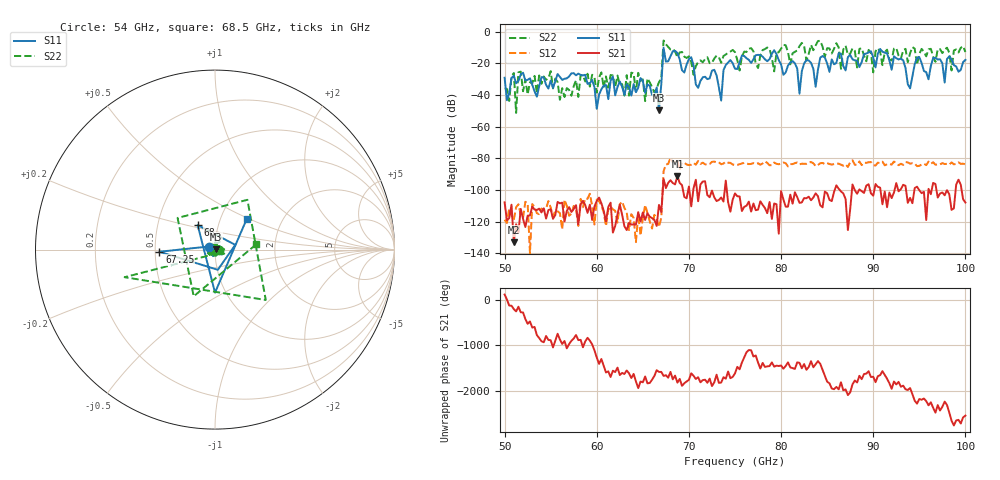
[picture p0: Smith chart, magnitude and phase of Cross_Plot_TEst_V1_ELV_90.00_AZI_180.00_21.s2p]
! 11/25/2026 1:25:37 PM
! C:\ANRITSUVNA\TEMP\TEMP.S2P
! CHANNEL.1
! TR.MEASUREMENT
! RAW.DATA
# HZ S RI R 50.0
! FREQ.HZ  S11RE  S11IM  S21RE  S21IM  S12RE  S12IM  S22RE  S22IM
!; PortSelection: Port_12
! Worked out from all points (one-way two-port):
!   201 points, 50 GHz to 100 GHz, reference 50 ohm
!   highest |S21| = -91.34 dB at 68.75 GHz (marker M1); lowest = -133.0 dB at 51 GHz (marker M2)
!   lowest |S11| = -49.7 dB at 66.75 GHz (marker M3), VSWR 1.01, Z = 50.3 + j0.0724 ohm
!   |S11| at or under -10 dB: start of sweep to end of sweep
!   |S22| runs from -51.4 to -5.6 dB; largest |S21 - S12| = 0.00012
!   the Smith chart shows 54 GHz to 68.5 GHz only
!   S11 on the Smith chart (normalised r, x): 54 GHz: 0.93, +0.03; 67.25 GHz: 0.53, -0.01; 68 GHz: 0.80, +0.22; 68.5 GHz: 1.33, +0.49
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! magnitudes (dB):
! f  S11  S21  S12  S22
! 50 GHz  -29.1  -107.9  -118.9  -35.7
! 51 GHz  -27.9  -133.0  -118.9  -26.1
! 51.25 GHz  -32.6  -121.7  -111.0  -51.4
! 51.5 GHz  -31.2  -127.0  -109.1  -25.7
! 54 GHz  -28.7  -114.2  -111.8  -33.0
! 58.5 GHz  -27.7  -106.9  -111.0  -27.7
! 60 GHz  -48.8  -107.0  -106.1  -38.6
! 61.75 GHz  -28.4  -127.0  -112.3  -27.7
! 66.75 GHz  -49.7  -109.5  -123.5  -31.9
! 67.25 GHz  -10.2  -93.1  -88.2  -5.6
! 68 GHz  -15.5  -93.9  -79.6  -11.3
! 68.5 GHz  -12.1  -96.5  -82.7  -12.6
! 68.75 GHz  -13.5  -91.3  -80.9  -16.1
! 73.5 GHz  -43.5  -104.8  -83.8  -19.7
! 73.75 GHz  -24.3  -107.4  -83.4  -15.4
! 75 GHz  -23.5  -102.2  -84.3  -13.0
! 82 GHz  -39.2  -108.2  -83.9  -9.1
! 83.5 GHz  -23.5  -104.8  -83.3  -11.8
! 91.75 GHz  -18.1  -101.7  -83.6  -17.6
! 94 GHz  -35.8  -105.1  -83.4  -13.7
! 94.75 GHz  -16.5  -98.0  -85.0  -20.9
! 100 GHz  -17.9  -108.0  -83.9  -12.8
